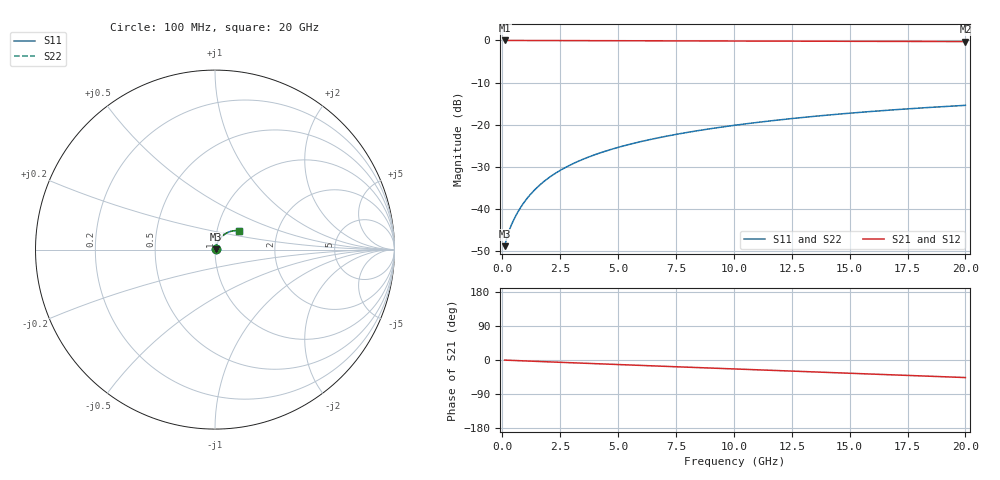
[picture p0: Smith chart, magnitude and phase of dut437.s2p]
! Touchstone file exported from HFSS 2026.1.0
!  File:  C:/ffzhzh/LocalFiles/Ansys_Project_Files/temp_train_TMRDL_437_1783005552_55676.aedt
!  Generated:  11:20:29 PM Jul  2, 2026
!  Design:  TMRDL
!  Project:  temp_train_TMRDL_437_1783005552_55676
! Variables:
!  h_bsmrdl = 2um
!  h_ox = 20um
!  h_rdl = 5um
!  h_sub = 80um
!  h_tmrdl = 5.07um
!  h_tsv = 80um
!  h_via = 3um
!  l_bsmrdl = 300um
!  l_sub = 1217.11um
!  l_tmrdl = 817.11um
!  m_sub = 200um
!  pitch = 27.27um
!  r_tsv = 6um
!  s_tmrdl = 10um
!  w_bsmrdl = 18um
!  w_sub = 500um
!  w_tmrdl = 18.52um
!  x_tsv_center1 = 826.37um
!  x_tsv_center2 = 1144.37um
!  x_tsv_center3 = 1980um
!  x_tsv_center4 = 2298um
!  x_tsv_center5 = 3133.63um
!  x_tsv_center6 = 3451.63um
# GHz S MA R 50.000000
! Terminal data exported
! Port[1] = TM_RDL1_1_T1
! Port[2] = TM_RDL1_1_T2
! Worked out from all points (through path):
!   200 points, 100 MHz to 20 GHz, reference 50 ohm
!   highest |S21| = -0.03 dB at 100 MHz (marker M1); lowest = -0.3 dB at 20 GHz (marker M2)
!   group delay of S21, straight-line fit = 6.41 ps
!   lowest |S11| = -48.7 dB at 100 MHz (marker M3), VSWR 1.01, Z = 50.3 + j0.158 ohm
!   |S11| at or under -10 dB: start of sweep to end of sweep
!   |S22| runs from -48.7 to -15.4 dB; largest |S21 - S12| = 3.7e-15
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0.1  0.003656 25.4  0.9967 -0.3  0.9967 -0.3  0.003656 25.4
! Gamma 0 0 0 0
! Port Impedance 50 0 50 0
0.2  0.00465 38.5  0.9964 -0.5  0.9964 -0.5  0.00465 38.5
0.3  0.005641 45.8  0.9961 -0.8  0.9961 -0.8  0.005641 45.8
0.4  0.006602 50.9  0.9959 -1.0  0.9959 -1.0  0.006602 50.9
0.5  0.007566 55.0  0.9958 -1.3  0.9958 -1.3  0.007566 55.0
0.7  0.009557 60.9  0.9956 -1.7  0.9956 -1.7  0.009558 60.9
0.9  0.01163 64.7  0.9954 -2.2  0.9954 -2.2  0.01163 64.7
1.1  0.01376 67.3  0.9952 -2.7  0.9952 -2.7  0.01376 67.3
1.3  0.01591 69.0  0.995 -3.2  0.995 -3.2  0.01591 69.0
1.7  0.02025 70.8  0.9946 -4.2  0.9946 -4.2  0.02025 70.8
2.2  0.02565 71.6  0.9939 -5.4  0.9939 -5.4  0.02565 71.6
2.8  0.03202 71.5  0.993 -6.8  0.993 -6.8  0.03202 71.5
3.5  0.03924 70.7  0.9919 -8.5  0.9919 -8.5  0.03924 70.7
4.2  0.04624 69.6  0.9907 -10.1  0.9907 -10.1  0.04624 69.6
5  0.05401 68.2  0.9894 -12.0  0.9894 -12.0  0.05401 68.2
5.9  0.06248 66.5  0.9879 -14.1  0.9879 -14.1  0.06248 66.5
6.8  0.07071 64.8  0.9864 -16.2  0.9864 -16.2  0.07071 64.8
8.3  0.08398 61.9  0.9841 -19.7  0.9841 -19.7  0.08398 61.9
10.1  0.09924 58.3  0.9813 -23.8  0.9813 -23.8  0.09924 58.3
13.4  0.1254 51.7  0.9764 -31.4  0.9764 -31.4  0.1254 51.6
16.7  0.1491 44.8  0.9716 -38.9  0.9716 -38.9  0.1491 44.8
20  0.1699 37.9  0.967 -46.3  0.967 -46.3  0.1699 37.8
